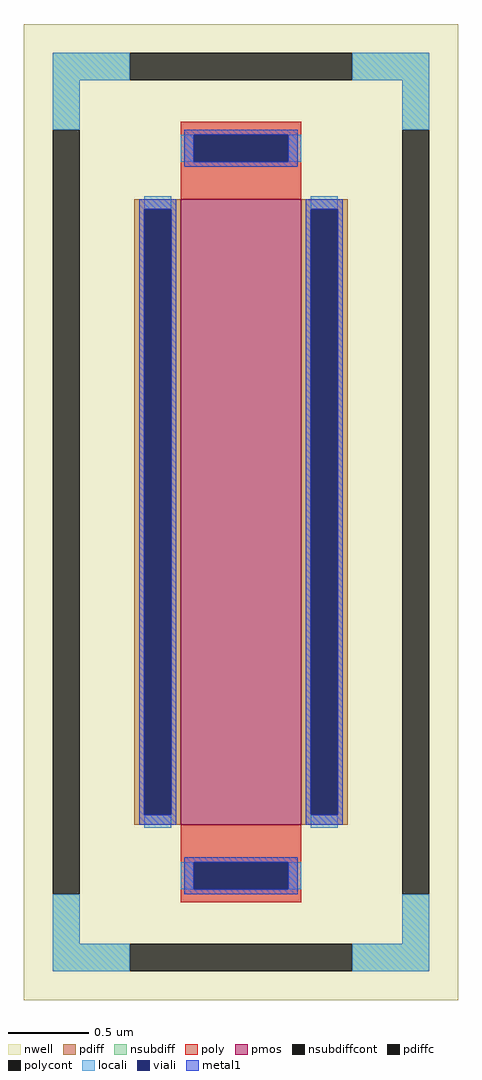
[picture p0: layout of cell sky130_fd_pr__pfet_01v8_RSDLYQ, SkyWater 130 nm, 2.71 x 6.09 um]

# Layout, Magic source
magic
tech sky130A
magscale 1 2
<< nwell >>
rect -271 -609 271 609
<< pmos >>
rect -75 -390 75 390
<< pdiff >>
rect -133 378 -75 390
rect -133 -378 -121 378
rect -87 -378 -75 378
rect -133 -390 -75 -378
rect 75 378 133 390
rect 75 -378 87 378
rect 121 -378 133 378
rect 75 -390 133 -378
<< pdiffc >>
rect -121 -378 -87 378
rect 87 -378 121 378
<< nsubdiff >>
rect -235 539 -139 573
rect 139 539 235 573
rect -235 477 -201 539
rect 201 477 235 539
rect -235 -539 -201 -477
rect 201 -539 235 -477
rect -235 -573 -139 -539
rect 139 -573 235 -539
<< nsubdiffcont >>
rect -139 539 139 573
rect -235 -477 -201 477
rect 201 -477 235 477
rect -139 -573 139 -539
<< poly >>
rect -75 471 75 487
rect -75 437 -59 471
rect 59 437 75 471
rect -75 390 75 437
rect -75 -437 75 -390
rect -75 -471 -59 -437
rect 59 -471 75 -437
rect -75 -487 75 -471
<< polycont >>
rect -59 437 59 471
rect -59 -471 59 -437
<< locali >>
rect -235 539 -139 573
rect 139 539 235 573
rect -235 477 -201 539
rect 201 477 235 539
rect -75 437 -59 471
rect 59 437 75 471
rect -121 378 -87 394
rect -121 -394 -87 -378
rect 87 378 121 394
rect 87 -394 121 -378
rect -75 -471 -59 -437
rect 59 -471 75 -437
rect -235 -539 -201 -477
rect 201 -539 235 -477
rect -235 -573 -139 -539
rect 139 -573 235 -539
<< viali >>
rect -59 437 59 471
rect -121 -378 -87 378
rect 87 -378 121 378
rect -59 -471 59 -437
<< metal1 >>
rect -71 471 71 477
rect -71 437 -59 471
rect 59 437 71 471
rect -71 431 71 437
rect -127 378 -81 390
rect -127 -378 -121 378
rect -87 -378 -81 378
rect -127 -390 -81 -378
rect 81 378 127 390
rect 81 -378 87 378
rect 121 -378 127 378
rect 81 -390 127 -378
rect -71 -437 71 -431
rect -71 -471 -59 -437
rect 59 -471 71 -437
rect -71 -477 71 -471
<< properties >>
string FIXED_BBOX -218 -556 218 556
string gencell sky130_fd_pr__pfet_01v8
string library sky130
string parameters w 3.9 l 0.75 m 1 nf 1 diffcov 100 polycov 100 guard 1 glc 1 grc 1 gtc 1 gbc 1 tbcov 100 rlcov 100 topc 1 botc 1 poverlap 0 doverlap 1 lmin 0.15 wmin 0.42 class mosfet compatible {sky130_fd_pr__pfet_01v8  sky130_fd_pr__pfet_01v8_lvt sky130_fd_pr__pfet_01v8_hvt  sky130_fd_pr__pfet_g5v0d10v5} full_metal 1 viasrc 100 viadrn 100 viagate 100 viagb 0 viagr 0 viagl 0 viagt 0
<< end >>
